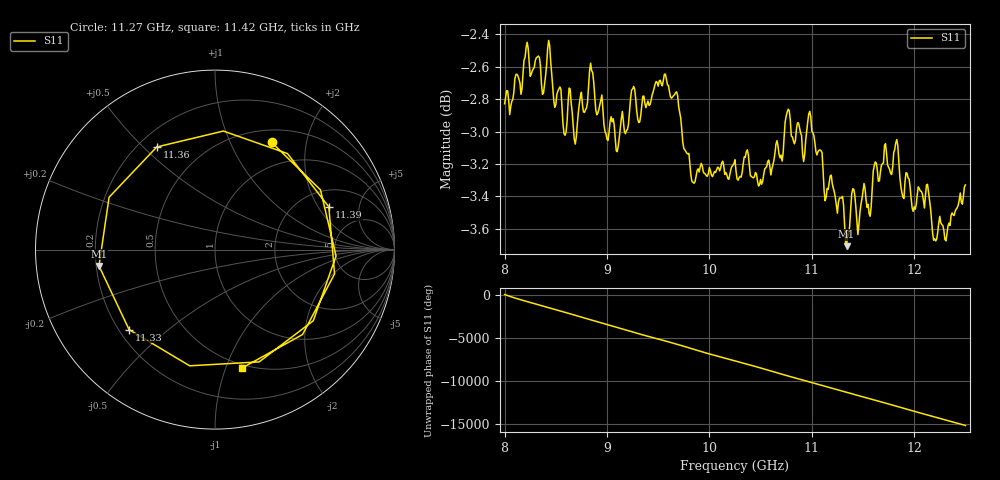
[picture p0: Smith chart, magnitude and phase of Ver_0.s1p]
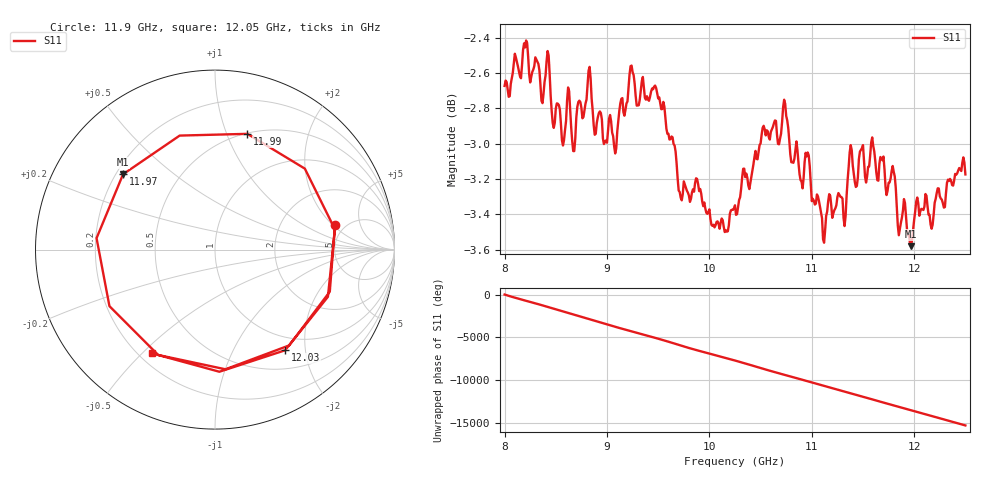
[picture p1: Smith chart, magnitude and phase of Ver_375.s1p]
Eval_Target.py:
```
import numpy as np
import matplotlib.pyplot as plt
import pandas as pd
import os
from scipy import linalg,signal
from scipy.optimize import minimize
import metas_unclib as munc
import skrf as rf
from skrf.media import RectangularWaveguide
from E_Cal import xBand_ECal

ref_short = rf.Network('090626/Ver_0.s1p')["8.4-12.5GHz"]#["8.4-12GHz"]


ref_short_l8 = rf.Network('090626/Ver_375.s1p')["8.4-12.5GHz"]
ref_short_l4 = rf.Network('090626/Ver_750.s1p')["8.4-12.5GHz"]
ref_short_3l8 = rf.Network('090626/Ver_1125.s1p')["8.4-12.5GHz"]

meas_short = rf.Network('090626/calkit_l0.s1p')["8.4-12.5GHz"]
meas_short_1 = rf.Network('090626/calkit_l8.s1p')["8.4-12.5GHz"]
meas_short_2 = rf.Network('090626/calkit_l4.s1p')["8.4-12.5GHz"]
meas_short_3 = rf.Network('090626/calkit_3l8.s1p')["8.4-12.5GHz"]


target = rf.Network('090626/target175.s1p')["8.4-12.5GHz"]


freq = ref_short.frequency
f = freq.f

WR90 = rf.RectangularWaveguide(freq,a=22.86E-3,z0=50)
WR90_short = rf.Network(s=(-1-0.000000000001j)*np.ones(len(freq)), frequency=freq, z0=50)


rho1_cal = WR90.line(3.79302482, 'mm')**WR90_short
rho2_cal = WR90.line(7.4010261, 'mm')**WR90_short
rho3_cal = WR90.line(11.31874477, 'mm')**WR90_short




cal = xBand_ECal(standard1=meas_short_1.s11, standard2=meas_short_2.s11, standard3=meas_short_3.s11, rho1=rho1_cal, rho2=rho2_cal, rho3=rho3_cal, 
                sigma_NF=(0.000001**2)*np.ones(len(freq)), sigma_NT=(0.000025**2)*np.ones(len(freq)), sigma_L=(0.0012**2)*np.ones(len(freq)),
                sigma_DD=(0.002**2)*np.ones(len(freq)), sigma_DT=(0.0125**2)*np.ones(len(freq)), sigma_DM=(0.025**2)*np.ones(len(freq)),
                sigma_RR=(0.004**2)*np.ones(len(freq)), sigma_RT=(0.0000001**2)*np.ones(len(freq)), sigma_RM=(0.004**2)*np.ones(len(freq)),
                sigma_SR=(0.05**2)*np.ones(len(freq)), find_lengths=False, find_lengths_options="de",
                enhanced_console_output=True,initial_guess=[3.75, 7.5, 11.25], ref_standard=meas_short.s11, ref_standard_rho=WR90_short, Waveguide=WR90)

cal.run()




dut = cal.apply_cal(target.s11)

plt.figure(figsize=(6, 3))
dut = rf.Network(s=munc.get_value(dut), frequency=freq)
target.plot_s_time(label="Uncalibrated")
dut.plot_s_time(label="Calibrated")
plt.ylabel('TDR S11')
xlim = (0, 40)
plt.grid()
plt.tight_layout()
plt.xlim(xlim)
plt.savefig('Radar.svg')
plt.show()
```
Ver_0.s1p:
#  HZ  S  RI  R  50.00
! Rohde & Schwarz Vector Network Analyzer
! Rohde-Schwarz,ZNA43-4Port,1332450044101932,2.92
! Created: UTC 6/9/2026, 6:30:11 AM
! freq[Hz]  re:S11  im:S11
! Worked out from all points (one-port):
!   451 points, 8 GHz to 12.5 GHz, reference 50 ohm
!   lowest |S11| = -3.7 dB at 11.34 GHz (marker M1), VSWR 4.76, Z = 10.6 - j3.36 ohm
!   |S11| at or under -10 dB: nowhere
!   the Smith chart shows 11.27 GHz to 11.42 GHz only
!   S11 on the Smith chart (normalised r, x): 11.27 GHz: 0.66, +1.45; 11.33 GHz: 0.24, -0.37; 11.36 GHz: 0.27, +0.55; 11.39 GHz: 2.84, +2.50; 11.42 GHz: 0.47, -1.14
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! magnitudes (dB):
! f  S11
! 8 GHz  -2.8
! 8.43 GHz  -2.4
! 8.59 GHz  -3.0
! 9.1 GHz  -3.1
! 9.5 GHz  -2.7
! 9.84 GHz  -3.3
! 11 GHz  -3.0
! 11.27 GHz  -3.4
! 11.33 GHz  -3.7
! 11.34 GHz  -3.7
! 11.36 GHz  -3.6
! 11.39 GHz  -3.4
! 11.42 GHz  -3.4
! 12.5 GHz  -3.3
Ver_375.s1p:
#  HZ  S  RI  R  50.00
! Rohde & Schwarz Vector Network Analyzer
! Rohde-Schwarz,ZNA43-4Port,1332450044101932,2.92
! Created: UTC 6/9/2026, 6:30:42 AM
! freq[Hz]  re:S11  im:S11
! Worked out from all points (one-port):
!   451 points, 8 GHz to 12.5 GHz, reference 50 ohm
!   lowest |S11| = -3.6 dB at 11.97 GHz (marker M1), VSWR 4.92, Z = 11.4 + j17 ohm
!   |S11| at or under -10 dB: nowhere
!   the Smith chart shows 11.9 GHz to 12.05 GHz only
!   S11 on the Smith chart (normalised r, x): 11.9 GHz: 4.15, +2.14; 11.97 GHz: 0.23, +0.34; 11.99 GHz: 0.51, +1.19; 12.03 GHz: 0.78, -1.63; 12.05 GHz: 0.25, -0.54
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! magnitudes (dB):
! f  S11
! 8 GHz  -2.7
! 8.42 GHz  -2.5
! 8.67 GHz  -3.0
! 9.5 GHz  -2.7
! 10.04 GHz  -3.5
! 10.73 GHz  -2.8
! 11 GHz  -3.3
! 11.59 GHz  -3.0
! 11.9 GHz  -3.3
! 11.97 GHz  -3.6
! 11.99 GHz  -3.5
! 12.03 GHz  -3.3
! 12.05 GHz  -3.4
! 12.5 GHz  -3.2
